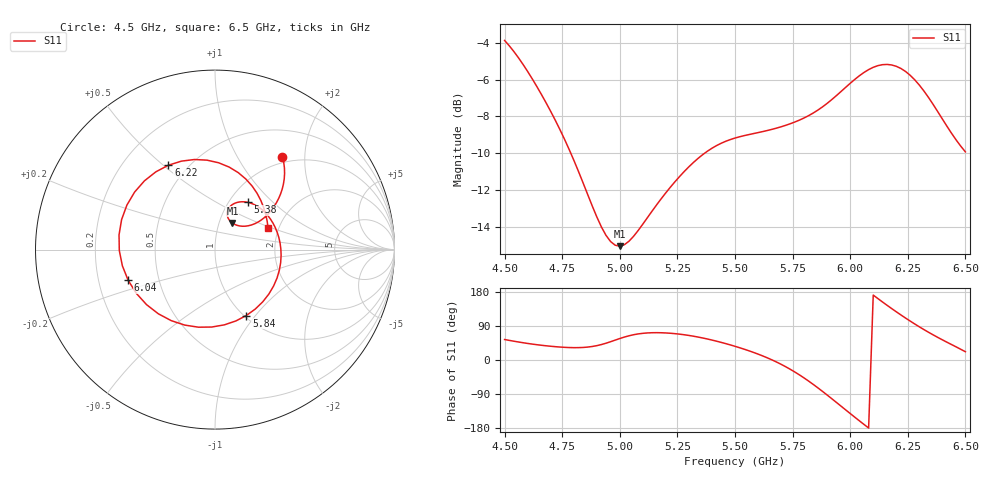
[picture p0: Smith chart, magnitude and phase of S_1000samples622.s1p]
! TOUCHSTONE file generated by CST MICROWAVE STUDIO
! Date and time: Fri Oct 28 19:28:25 2022
! Project name: L.cst
! Parameters = {Di=1.27; Epsilon_r=1.56; InnerDiameter=1.27; Length=2; Lf=10; Lg=60; OuterConductorThickness=0.2921; OuterDiameter=3.6; Wf=3; Wp=41.2; de=1.5; df=6.8; g=0.8; gx=0.404919; gy=1.03425; h=2.34; hf=1.524; px=9.37215; py=10.0479; w=9.7; wx=8.96723; wy=9.01362}
! Header version: 2018
! Port assignment regex: !\s*Touchstone port\s*([0-9]+)\s*=\s*(CST MWS port|CST DS port)\s*([0-9]+|Zmin|Zmax)\s*\(\"(.*)\"\)(\s*mode\s*([0-9]+))?.*
! Touchstone port assignment:
! Touchstone port 1 = CST MWS port 1 ("")
# GHz S DB R 50
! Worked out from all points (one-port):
!   101 points, 4.5 GHz to 6.5 GHz, reference 50 ohm
!   lowest |S11| = -15.0 dB at 5 GHz (marker M1), VSWR 1.43, Z = 57.9 + j17.7 ohm
!   |S11| at or under -10 dB: 4.787 GHz to 5.368 GHz (581.3 MHz wide, 11.4 % of centre)
!   S11 on the Smith chart (normalised r, x): 4.5 GHz: 0.90, +1.57; 5.38 GHz: 1.21, +0.71; 5.84 GHz: 1.02, -0.90; 6.04 GHz: 0.33, -0.15; 6.22 GHz: 0.39, +0.52; 6.5 GHz: 1.76, +0.47
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4.5  -3.88 54.0
4.6  -5.56 43.7
4.76  -9.24 33.4
4.84  -11.59 33.1
4.92  -14.00 40.7
5  -15.05 56.7
5.12  -13.50 71.4
5.26  -11.26 68.2
5.38  -9.89 55.4
5.5  -9.18 36.1
5.58  -8.94 20.1
5.66  -8.71 0.4
5.76  -8.31 -31.8
5.84  -7.82 -64.6
5.88  -7.48 -82.9
5.92  -7.09 -102.1
5.96  -6.65 -121.6
6  -6.21 -141.2
6.04  -5.79 -160.6
6.08  -5.46 -179.4
6.12  -5.25 162.2
6.18  -5.21 135.7
6.22  -5.40 118.9
6.26  -5.77 102.9
6.32  -6.62 80.3
6.38  -7.74 59.7
6.44  -8.92 40.7
6.5  -9.93 21.8
